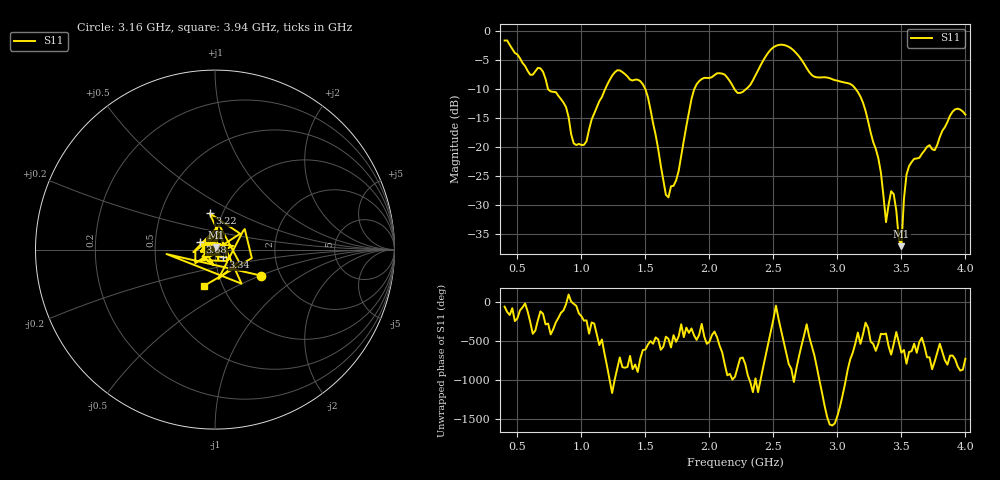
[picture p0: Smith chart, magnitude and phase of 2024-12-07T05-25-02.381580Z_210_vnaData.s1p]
!Created with skrf (http://scikit-rf.org).
# Hz S RI R 50.0
!freq ReS11 ImS11
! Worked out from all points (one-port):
!   181 points, 400 MHz to 4 GHz, reference 50 ohm
!   lowest |S11| = -37.1 dB at 3.5 GHz (marker M1), VSWR 1.03, Z = 50.4 + j1.34 ohm
!   |S11| at or under -10 dB: 738.9 MHz to 1.187 GHz (447.8 MHz wide, 46.5 % of centre); 1.499 GHz to 1.883 GHz (383.8 MHz wide, 22.7 % of centre); 3.142 GHz to end of sweep (the widest 3 of 4)
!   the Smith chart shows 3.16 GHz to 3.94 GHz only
!   S11 on the Smith chart (normalised r, x): 3.16 GHz: 1.60, -0.51; 3.22 GHz: 0.87, +0.37; 3.34 GHz: 1.09, -0.09; 3.68 GHz: 0.84, +0.07; 3.94 GHz: 0.81, -0.35
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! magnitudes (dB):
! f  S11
! 400 MHz  -1.7
! 860 MHz  -12.4
! 940 MHz  -19.4
! 1.02 GHz  -19.7
! 1.3 GHz  -6.8
! 1.5 GHz  -10.0
! 1.66 GHz  -28.2
! 1.76 GHz  -24.1
! 1.9 GHz  -9.2
! 2.1 GHz  -7.4
! 2.2 GHz  -10.2
! 2.5 GHz  -2.8
! 2.66 GHz  -3.4
! 2.82 GHz  -7.9
! 3.1 GHz  -9.1
! 3.16 GHz  -10.5
! 3.22 GHz  -13.8
! 3.34 GHz  -24.4
! 3.38 GHz  -33.0
! 3.42 GHz  -27.6
! 3.44 GHz  -28.1
! 3.5 GHz  -37.1
! 3.52 GHz  -28.9
! 3.56 GHz  -23.3
! 3.68 GHz  -20.6
! 3.76 GHz  -20.6
! 3.94 GHz  -13.4
! 4 GHz  -14.4
